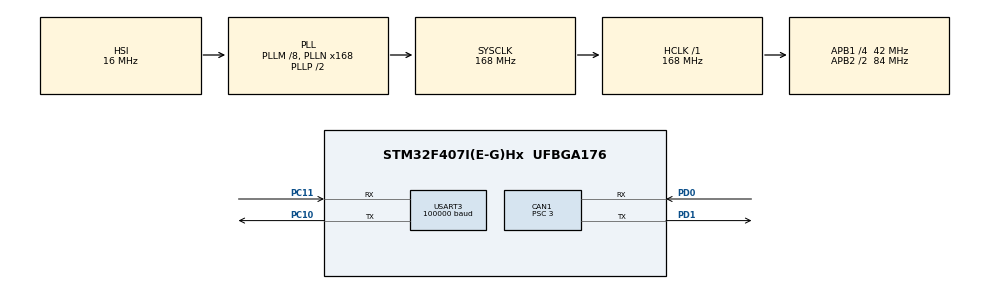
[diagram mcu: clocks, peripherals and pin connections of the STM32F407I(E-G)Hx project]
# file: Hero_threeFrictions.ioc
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CAN1.BS1=CAN_BS1_10TQ
CAN1.BS2=CAN_BS2_3TQ
CAN1.CalculateBaudRate=1000000
CAN1.CalculateTimeBit=1000
CAN1.CalculateTimeQuantum=71.42857142857143
CAN1.Prescaler=3
Dma.Request0=USART3_RX
Dma.USART3_RX.0.Direction=DMA_PERIPH_TO_MEMORY
Dma.USART3_RX.0.FIFOMode=DMA_FIFOMODE_DISABLE
Dma.USART3_RX.0.Instance=DMA1_Stream1
Dma.USART3_RX.0.MemDataAlignment=DMA_MDATAALIGN_BYTE
Dma.USART3_RX.0.MemInc=DMA_MINC_ENABLE
Dma.USART3_RX.0.Mode=DMA_CIRCULAR
Dma.USART3_RX.0.PeriphDataAlignment=DMA_PDATAALIGN_BYTE
Dma.USART3_RX.0.PeriphInc=DMA_PINC_DISABLE
Dma.USART3_RX.0.Priority=DMA_PRIORITY_LOW
Mcu.Family=STM32F4
Mcu.Name=STM32F407I(E-G)Hx
Mcu.Package=UFBGA176
NVIC.DMA1_Stream1_IRQn=true\:0\:0\:false\:false\:true\:false\:true\:true
NVIC.PriorityGroup=NVIC_PRIORITYGROUP_4
PC10.Mode=Asynchronous
PC10.Signal=USART3_TX
PC11.Mode=Asynchronous
PC11.Signal=USART3_RX
PD0.Mode=CAN_Activate
PD0.Signal=CAN1_RX
PD1.Mode=CAN_Activate
PD1.Signal=CAN1_TX
ProjectManager.HeapSize=0x200
ProjectManager.StackSize=0x400
ProjectManager.TargetToolchain=MDK-ARM V5.32
RCC.48MHZClocksFreq_Value=84000000
RCC.AHBFreq_Value=168000000
RCC.APB1CLKDivider=RCC_HCLK_DIV4
RCC.APB1Freq_Value=42000000
RCC.APB1TimFreq_Value=84000000
RCC.APB2CLKDivider=RCC_HCLK_DIV2
RCC.APB2Freq_Value=84000000
RCC.APB2TimFreq_Value=168000000
RCC.CortexFreq_Value=168000000
RCC.HCLKFreq_Value=168000000
RCC.HSE_VALUE=25000000
RCC.HSI_VALUE=16000000
RCC.LSE_VALUE=32768
RCC.PLLM=8
RCC.PLLN=168
RCC.SYSCLKFreq_VALUE=168000000
RCC.SYSCLKSource=RCC_SYSCLKSOURCE_PLLCLK
RCC.VCOOutputFreq_Value=336000000
USART3.BaudRate=100000
USART3.VirtualMode=VM_ASYNC
USART3.WordLength=WORDLENGTH_9B
board=custom

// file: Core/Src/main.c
/* USER CODE BEGIN Header */
/**
  ******************************************************************************
  * @file           : main.c
  * @brief          : Main program body
  ******************************************************************************
  * @attention
  *
  * Copyright (c) 2024 STMicroelectronics.
  * All rights reserved.
  *
  * This software is licensed under terms that can be found in the LICENSE file
  * in the root directory of this software component.
  * If no LICENSE file comes with this software, it is provided AS-IS.
  *
  ******************************************************************************
  */
/* USER CODE END Header */
#include "main.h"
#include "can.h"
#include "dma.h"
#include "usart.h"
#include "gpio.h"

/* USER CODE BEGIN Includes */
#include "stdint.h"
#include "pid.h"
#include "stdarg.h"
#include "rc.h"
#include "motor_data.h"
#include "bsp_can.h"
#include "bsp_rc.h"
#include "CAN_receive.h"
#include "motor_data.h"
#include "shoot.h"
/* USER CODE END Includes */

/* USER CODE BEGIN PD */
const fp32 PID_speed[3] = {10,1,0.1};
const fp32 PID_angle[3] = {20,2,0.2};
int set_speed = 2500;
fp32 set_angle = 30;

RC_Ctl_t RC_Ctl;
uint8_t sbus_rx_buffer[18];
/* USER CODE END PD */

void SystemClock_Config(void);

int main(void)
{

  /* MCU Configuration--------------------------------------------------------*/

  /* Reset of all peripherals, Initializes the Flash interface and the Systick. */
  HAL_Init();

  /* Configure the system clock */
  SystemClock_Config();

  /* Initialize all configured peripherals */
  MX_GPIO_Init();
  MX_DMA_Init();
  MX_CAN1_Init();
  MX_USART3_UART_Init();

  /* Infinite loop */
  while (1)
  {
		friction_start();
		friction_shoot(0);
  }
}

void SystemClock_Config(void)
{
  RCC_OscInitTypeDef RCC_OscInitStruct = {0};
  RCC_ClkInitTypeDef RCC_ClkInitStruct = {0};

  /** Configure the main internal regulator output voltage
  */
  __HAL_RCC_PWR_CLK_ENABLE();
  __HAL_PWR_VOLTAGESCALING_CONFIG(PWR_REGULATOR_VOLTAGE_SCALE1);

  /** Initializes the RCC Oscillators according to the specified parameters
  * in the RCC_OscInitTypeDef structure.
  */
  RCC_OscInitStruct.OscillatorType = RCC_OSCILLATORTYPE_HSI;
  RCC_OscInitStruct.HSIState = RCC_HSI_ON;
  RCC_OscInitStruct.HSICalibrationValue = RCC_HSICALIBRATION_DEFAULT;
  RCC_OscInitStruct.PLL.PLLState = RCC_PLL_ON;
  RCC_OscInitStruct.PLL.PLLSource = RCC_PLLSOURCE_HSI;
  RCC_OscInitStruct.PLL.PLLM = 8;
  RCC_OscInitStruct.PLL.PLLN = 168;
  RCC_OscInitStruct.PLL.PLLP = RCC_PLLP_DIV2;
  RCC_OscInitStruct.PLL.PLLQ = 4;
  if (HAL_RCC_OscConfig(&RCC_OscInitStruct) != HAL_OK)
  {
    Error_Handler();
  }

  /** Initializes the CPU, AHB and APB buses clocks
  */
  RCC_ClkInitStruct.ClockType = RCC_CLOCKTYPE_HCLK|RCC_CLOCKTYPE_SYSCLK
                              |RCC_CLOCKTYPE_PCLK1|RCC_CLOCKTYPE_PCLK2;
  RCC_ClkInitStruct.SYSCLKSource = RCC_SYSCLKSOURCE_PLLCLK;
  RCC_ClkInitStruct.AHBCLKDivider = RCC_SYSCLK_DIV1;
  RCC_ClkInitStruct.APB1CLKDivider = RCC_HCLK_DIV4;
  RCC_ClkInitStruct.APB2CLKDivider = RCC_HCLK_DIV2;

  if (HAL_RCC_ClockConfig(&RCC_ClkInitStruct, FLASH_LATENCY_5) != HAL_OK)
  {
    Error_Handler();
  }
}

void Error_Handler(void)
{
  __disable_irq();
  while (1)
  {
  }
}
